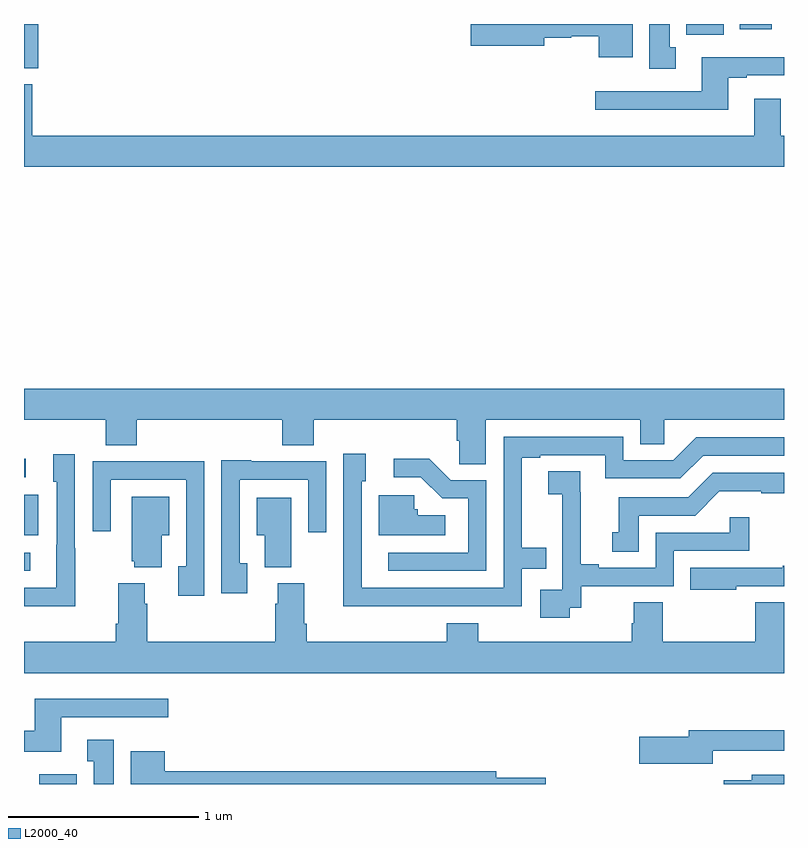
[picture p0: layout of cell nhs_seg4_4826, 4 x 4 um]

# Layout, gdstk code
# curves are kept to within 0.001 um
import gdstk
lib = gdstk.Library(unit=1e-6, precision=1e-09)
def R(c, l, rs):  # rectangles x0, y0, x1, y1
    for r in rs: c.add(gdstk.rectangle(r[:2], r[2:], *l))
def P(c, l, *ps):  # polygons
    for p in ps: c.add(gdstk.Polygon(p, *l))
L2000_40 = (2000, 40)

nhs_seg4_4826 = lib.new_cell('nhs_seg4_4826')
R(nhs_seg4_4826, L2000_40, [(371.081,798.9,371.278,798.952), (371,800.022,371.032,800.118), (371,800.21,371.074,800.422), (371,800.514,371.008,800.612), (371,802.668,371.074,802.9), (374.486,802.844,374.683,802.9), (374.768,802.872,374.935,802.9)])
P(nhs_seg4_4826, L2000_40, [(374.431,802.778),(374.398,802.778),(374.398,802.9),(374.291,802.9),(374.291,802.665),(374.431,802.665)],
  [(374.203,802.9),(373.35,802.9),(373.35,802.786),(373.738,802.786),(373.738,802.828),(373.881,802.828),(373.881,802.836),(374.024,802.836),(374.024,802.724),(374.203,802.724)],
  [(374.707,802.617),(374.803,802.617),(374.803,802.629),(375,802.629),(375,802.726),(374.567,802.726),(374.567,802.545),(374.007,802.545),(374.007,802.448),(374.707,802.448)],
  [(375,802.312),(374.983,802.312),(374.983,802.507),(374.843,802.507),(374.843,802.312),(371.044,802.312),(371.044,802.583),(371,802.583),(371,802.148),(375,802.148)],
  [(373.429,800.816),(374.243,800.816),(374.243,800.689),(374.37,800.689),(374.37,800.816),(375,800.816),(375,800.98),(371,800.98),(371,800.816),(371.429,800.816),(371.429,800.683),(371.594,800.683),(371.594,800.816),(372.359,800.816),(372.359,800.683),(372.524,800.683),(372.524,800.816),(373.277,800.816),(373.277,800.707),(373.29,800.707),(373.29,800.584),(373.429,800.584)],
  [(373.142,799.836),(373.62,799.836),(373.62,800.034),(373.748,800.034),(373.748,800.143),(373.621,800.143),(373.621,800.616),(373.717,800.616),(373.717,800.631),(374.058,800.631),(374.058,800.508),(374.454,800.508),(374.574,800.628),(375,800.628),(375,800.724),(374.538,800.724),(374.418,800.604),(374.154,800.604),(374.154,800.727),(373.524,800.727),(373.524,799.932),(372.777,799.932),(372.777,800.493),(372.799,800.493),(372.799,800.638),(372.681,800.638),(372.68,799.835)],
  [(371.271,800.141),(371.268,800.141),(371.268,800.635),(371.153,800.635),(371.153,800.49),(371.172,800.49),(371.172,800.159),(371.171,800.159),(371.171,799.932),(371,799.932),(371,799.835),(371.271,799.835)],
  [(373.434,800.499),(373.245,800.499),(373.132,800.612),(372.945,800.612),(372.945,800.514),(373.089,800.514),(373.2,800.403),(373.338,800.403),(373.338,800.118),(372.918,800.118),(372.918,800.022),(373.434,800.022)],
  [(372.175,800.061),(372.135,800.061),(372.135,800.502),(372.495,800.502),(372.495,800.226),(372.591,800.226),(372.591,800.598),(372.195,800.598),(372.195,800.605),(372.039,800.605),(372.039,799.905),(372.175,799.905)],
  [(371.949,800.6),(371.677,800.6),(371.677,800.598),(371.361,800.598),(371.361,800.229),(371.457,800.229),(371.457,800.502),(371.853,800.502),(371.853,800.046),(371.813,800.046),(371.813,799.89),(371.949,799.89)],
  [(373.872,799.827),(373.934,799.827),(373.934,799.941),(374.421,799.941),(374.421,800.127),(374.816,800.127),(374.816,800.305),(374.715,800.305),(374.715,800.223),(374.325,800.223),(374.325,800.037),(374.026,800.037),(374.026,800.057),(373.93,800.057),(373.93,800.435),(373.928,800.435),(373.928,800.546),(373.758,800.546),(373.758,800.425),(373.832,800.425),(373.832,800.227),(373.833,800.227),(373.833,799.923),(373.716,799.923),(373.716,799.776),(373.872,799.776)],
  [(374.236,800.313),(374.532,800.313),(374.66,800.441),(374.879,800.441),(374.879,800.43),(375,800.43),(375,800.538),(374.625,800.538),(374.496,800.409),(374.129,800.409),(374.129,800.226),(374.096,800.226),(374.096,800.122),(374.236,800.122)],
  [(373.216,800.314),(373.072,800.314),(373.072,800.346),(373.053,800.346),(373.053,800.421),(372.866,800.421),(372.866,800.21),(373.216,800.21)],
  [(371.725,800.21),(371.764,800.21),(371.764,800.413),(371.567,800.413),(371.567,800.073),(371.579,800.073),(371.579,800.042),(371.725,800.042)],
  [(372.406,800.407),(372.224,800.407),(372.224,800.21),(372.266,800.21),(372.266,800.041),(372.406,800.041)],
  [(374.749,799.941),(375,799.941),(375,800.05),(374.993,800.05),(374.993,800.037),(374.506,800.037),(374.506,799.922),(374.749,799.922)],
  [(375,799.856),(374.849,799.856),(374.849,799.648),(374.363,799.648),(374.363,799.856),(374.21,799.856),(374.21,799.746),(374.198,799.746),(374.198,799.648),(373.391,799.648),(373.391,799.747),(373.226,799.747),(373.226,799.648),(372.488,799.648),(372.488,799.744),(372.475,799.744),(372.475,799.956),(372.335,799.956),(372.335,799.85),(372.323,799.85),(372.323,799.648),(371.648,799.648),(371.648,799.85),(371.635,799.85),(371.635,799.957),(371.495,799.957),(371.495,799.744),(371.483,799.744),(371.483,799.648),(371,799.648),(371,799.484),(375,799.484)],
  [(371.197,799.251),(371.758,799.251),(371.758,799.348),(371.057,799.348),(371.057,799.18),(371,799.18),(371,799.07),(371.197,799.07)],
  [(374.626,799.074),(375,799.074),(375,799.183),(374.498,799.183),(374.498,799.149),(374.238,799.149),(374.238,799.007),(374.626,799.007)],
  [(371.473,799.132),(371.333,799.132),(371.333,799.019),(371.366,799.019),(371.366,798.9),(371.473,798.9)],
  [(373.747,798.932),(373.486,798.932),(373.486,798.968),(371.74,798.968),(371.74,799.072),(371.561,799.072),(371.561,798.9),(373.747,798.9)],
  [(375,798.948),(374.831,798.948),(374.831,798.919),(374.682,798.919),(374.682,798.9),(375,798.9)])

lib.write_gds('nhs_seg4_4826.gds')
